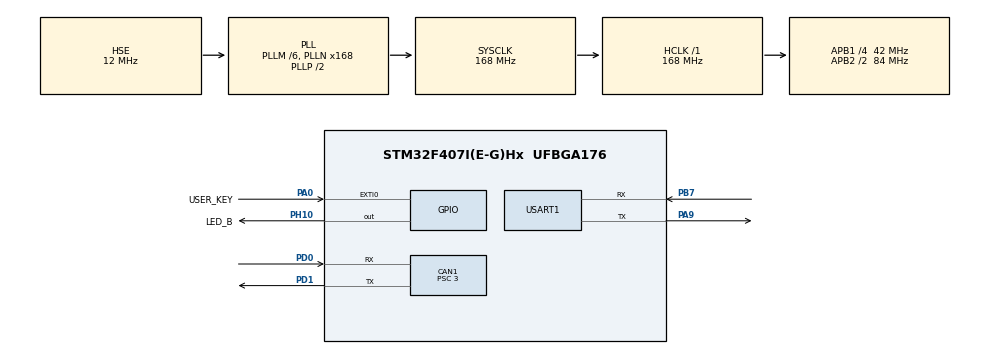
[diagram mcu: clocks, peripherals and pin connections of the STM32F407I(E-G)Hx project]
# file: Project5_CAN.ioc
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CAN1.ABOM=ENABLE
CAN1.BS1=CAN_BS1_11TQ
CAN1.BS2=CAN_BS2_2TQ
CAN1.CalculateBaudRate=1000000
CAN1.CalculateTimeBit=1000
CAN1.CalculateTimeQuantum=71.42857142857143
CAN1.Prescaler=3
Mcu.Family=STM32F4
Mcu.Name=STM32F407I(E-G)Hx
Mcu.Package=UFBGA176
NVIC.CAN1_RX0_IRQn=true\:0\:0\:false\:false\:true\:true\:true\:true
NVIC.CAN1_RX1_IRQn=true\:0\:0\:false\:false\:true\:true\:true\:true
NVIC.CAN1_TX_IRQn=true\:0\:0\:false\:false\:true\:true\:true\:true
NVIC.EXTI0_IRQn=true\:0\:0\:false\:false\:true\:true\:true\:true
NVIC.PriorityGroup=NVIC_PRIORITYGROUP_4
NVIC.USART1_IRQn=true\:0\:0\:false\:false\:true\:true\:true\:true
PA0-WKUP.GPIO_Label=USER_KEY
PA0-WKUP.GPIO_ModeDefaultEXTI=GPIO_MODE_IT_RISING_FALLING
PA0-WKUP.GPIO_PuPd=GPIO_PULLUP
PA0-WKUP.Signal=GPXTI0
PA13.Mode=Serial_Wire
PA13.Signal=SYS_JTMS-SWDIO
PA14.Mode=Serial_Wire
PA14.Signal=SYS_JTCK-SWCLK
PA9.Mode=Asynchronous
PA9.Signal=USART1_TX
PB7.Mode=Asynchronous
PB7.Signal=USART1_RX
PD0.Mode=CAN_Activate
PD0.Signal=CAN1_RX
PD1.Mode=CAN_Activate
PD1.Signal=CAN1_TX
PH0-OSC_IN.Mode=HSE-External-Oscillator
PH0-OSC_IN.Signal=RCC_OSC_IN
PH1-OSC_OUT.Mode=HSE-External-Oscillator
PH1-OSC_OUT.Signal=RCC_OSC_OUT
PH10.GPIO_Label=LED_B
PH10.Signal=GPIO_Output
ProjectManager.HeapSize=0x200
ProjectManager.StackSize=0x400
ProjectManager.TargetToolchain=MDK-ARM V5.32
RCC.48MHZClocksFreq_Value=84000000
RCC.AHBFreq_Value=168000000
RCC.APB1CLKDivider=RCC_HCLK_DIV4
RCC.APB1Freq_Value=42000000
RCC.APB1TimFreq_Value=84000000
RCC.APB2CLKDivider=RCC_HCLK_DIV2
RCC.APB2Freq_Value=84000000
RCC.APB2TimFreq_Value=168000000
RCC.CortexFreq_Value=168000000
RCC.HCLKFreq_Value=168000000
RCC.HSE_VALUE=12000000
RCC.HSI_VALUE=16000000
RCC.LSE_VALUE=32768
RCC.PLLM=6
RCC.PLLN=168
RCC.PLLSourceVirtual=RCC_PLLSOURCE_HSE
RCC.SYSCLKFreq_VALUE=168000000
RCC.SYSCLKSource=RCC_SYSCLKSOURCE_PLLCLK
RCC.VCOOutputFreq_Value=336000000
USART1.VirtualMode=VM_ASYNC
board=custom

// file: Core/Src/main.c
/* USER CODE BEGIN Header */
/**
 ******************************************************************************
 * @file           : main.c
 * @brief          : Main program body
 ******************************************************************************
 * @attention
 *
 * Copyright (c) 2024 STMicroelectronics.
 * All rights reserved.
 *
 * This software is licensed under terms that can be found in the LICENSE file
 * in the root directory of this software component.
 * If no LICENSE file comes with this software, it is provided AS-IS.
 *
 ******************************************************************************
 */
/* USER CODE END Header */
#include "main.h"
#include "can.h"
#include "gpio.h"
#include "usart.h"

/* USER CODE BEGIN Includes */
#include <stdio.h>
/* USER CODE END Includes */

void SystemClock_Config(void);

/* USER CODE BEGIN 0 */
void sendMotorSpeed(uint32_t id, int16_t current) {
    CAN_TxHeaderTypeDef TxHeader;
    uint8_t TxData[8] = { 0 };
    uint32_t TxMailbox;

    // 设置CAN标识符
    TxHeader.StdId = id; // 使用0x200或0x1FF
    TxHeader.IDE = CAN_ID_STD;
    TxHeader.RTR = CAN_RTR_DATA;
    TxHeader.DLC = 8;

    // 设置目标转矩电流
    TxData[0] = (current >> 8) & 0xFF; // 高8位
    TxData[1] = current & 0xFF; // 低8位

    // 将消息添加到发送邮箱
    if (HAL_CAN_AddTxMessage(&hcan1, &TxHeader, TxData, &TxMailbox) != HAL_OK) {
        // 错误处理
        Error_Handler();
    }
}

/* USER CODE END 0 */

int main(void) {

    /* MCU Configuration--------------------------------------------------------*/

    /* Reset of all peripherals, Initializes the Flash interface and the Systick. */
    HAL_Init();

    /* Configure the system clock */
    SystemClock_Config();

    /* Initialize all configured peripherals */
    MX_GPIO_Init();
    MX_USART1_UART_Init();
    MX_CAN1_Init();
    /* USER CODE BEGIN 2 */

    CAN_FilterTypeDef canFilterConfig;
    canFilterConfig.FilterBank = 0; // 使用过滤器组0
    canFilterConfig.FilterMode = CAN_FILTERMODE_IDMASK; // 使用ID掩码模式
    canFilterConfig.FilterScale = CAN_FILTERSCALE_32BIT; // 使用32位宽
    canFilterConfig.FilterIdHigh = 0x0000; // 标准ID高位
    canFilterConfig.FilterIdLow = 0x0000; // 标准ID低位
    canFilterConfig.FilterMaskIdHigh = 0x0000; // 掩码高位
    canFilterConfig.FilterMaskIdLow = 0x0000; // 掩码低位
    canFilterConfig.FilterFIFOAssignment = CAN_RX_FIFO0; // 分配到FIFO0
    canFilterConfig.FilterActivation = ENABLE; // 启用过滤器

    HAL_CAN_ConfigFilter(&hcan1, &canFilterConfig);
    HAL_CAN_Start(&hcan1);
    HAL_CAN_ActivateNotification(&hcan1, CAN_IT_RX_FIFO0_MSG_PENDING);
    HAL_CAN_ActivateNotification(&hcan1, CAN_IT_TX_MAILBOX_EMPTY);

    /* USER CODE END 2 */

    /* Infinite loop */
    while (1) {

        /* USER CODE BEGIN 3 */
        //        sendMotorSpeed(0x200, 300); // 对应10A
        //        HAL_Delay(10); // 每秒发送一次
    }
    /* USER CODE END 3 */
}

void SystemClock_Config(void) {
    RCC_OscInitTypeDef RCC_OscInitStruct = { 0 };
    RCC_ClkInitTypeDef RCC_ClkInitStruct = { 0 };

    /** Configure the main internal regulator output voltage
  */
    __HAL_RCC_PWR_CLK_ENABLE();
    __HAL_PWR_VOLTAGESCALING_CONFIG(PWR_REGULATOR_VOLTAGE_SCALE1);

    /** Initializes the RCC Oscillators according to the specified parameters
  * in the RCC_OscInitTypeDef structure.
  */
    RCC_OscInitStruct.OscillatorType = RCC_OSCILLATORTYPE_HSE;
    RCC_OscInitStruct.HSEState = RCC_HSE_ON;
    RCC_OscInitStruct.PLL.PLLState = RCC_PLL_ON;
    RCC_OscInitStruct.PLL.PLLSource = RCC_PLLSOURCE_HSE;
    RCC_OscInitStruct.PLL.PLLM = 6;
    RCC_OscInitStruct.PLL.PLLN = 168;
    RCC_OscInitStruct.PLL.PLLP = RCC_PLLP_DIV2;
    RCC_OscInitStruct.PLL.PLLQ = 4;
    if (HAL_RCC_OscConfig(&RCC_OscInitStruct) != HAL_OK) {
        Error_Handler();
    }

    /** Initializes the CPU, AHB and APB buses clocks
  */
    RCC_ClkInitStruct.ClockType = RCC_CLOCKTYPE_HCLK | RCC_CLOCKTYPE_SYSCLK | RCC_CLOCKTYPE_PCLK1 | RCC_CLOCKTYPE_PCLK2;
    RCC_ClkInitStruct.SYSCLKSource = RCC_SYSCLKSOURCE_PLLCLK;
    RCC_ClkInitStruct.AHBCLKDivider = RCC_SYSCLK_DIV1;
    RCC_ClkInitStruct.APB1CLKDivider = RCC_HCLK_DIV4;
    RCC_ClkInitStruct.APB2CLKDivider = RCC_HCLK_DIV2;

    if (HAL_RCC_ClockConfig(&RCC_ClkInitStruct, FLASH_LATENCY_5) != HAL_OK) {
        Error_Handler();
    }
}

/* USER CODE BEGIN 4 */

int _write(int file, char* ch, int len) {
    HAL_UART_Transmit(&huart1, (uint8_t*)ch, 1, 10);
    return 1;
}

/* USER CODE END 4 */

void Error_Handler(void) {
    __disable_irq();
    while (1) {
    }
}

#ifdef USE_FULL_ASSERT
/**
  * @brief  Reports the name of the source file and the source line number
  *         where the assert_param error has occurred.
  * @param  file: pointer to the source file name
  * @param  line: assert_param error line source number
  * @retval None
  */
void assert_failed(uint8_t* file, uint32_t line) {
    /* USER CODE BEGIN 6 */
    /* User can add his own implementation to report the file name and line
     number, ex: printf("Wrong parameters value: file %s on line %d\r\n", file,
     line) */
    /* USER CODE END 6 */
}
#endif /* USE_FULL_ASSERT */
